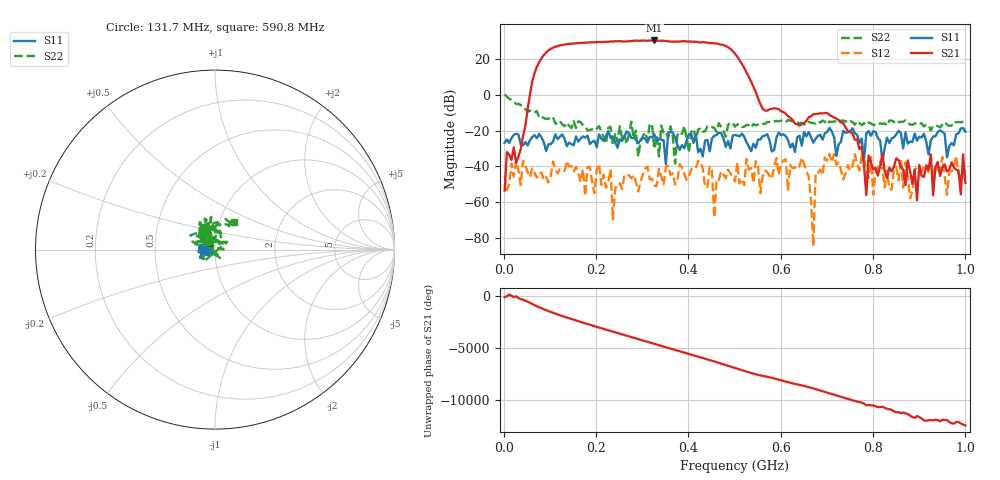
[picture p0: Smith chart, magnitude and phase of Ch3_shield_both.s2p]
!Keysight Technologies N9923A: A.12.45
!Date: Friday, 10 October 2025 03:06:30
!Timezone: (UTC+08:00) Kuala Lumpur, Singapore
!Model: N9923A
!Serial: MY61181427
!GPS Latitude:
!GPS Longitude:
!GPS TimeStamp: 0001-01-01 00:00:00Z
!GPS Seconds Since Last Read: 0
!CHECKSUM:1676709566
!Correction: S11(ON U?)S21(ON U?)S12(ON U?)S22(ON U?)
!S2P File: Measurements:S11,S21,S12,S22:
# Hz S DB R 50
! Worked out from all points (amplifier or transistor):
!   201 points, 2 MHz to 1 GHz, reference 50 ohm
!   highest |S21| = 30.1 dB at 326.4 MHz (marker M1)
!   |S21| within 3 dB of that: 118.4 MHz to 480.3 MHz (361.9 MHz wide, 121 % of centre)
!   unconditionally stable (mu >= 1): 2.061 MHz to end of sweep
!   at 166.7 MHz: K = 4.80, MAG = 28.9 dB, |S12| = -48.6 dB
!   at 501 MHz: K = 9.24, MAG = 22.9 dB, |S12| = -48.3 dB
!   at 1 GHz: K = 14049.69, MAG = -49.0 dB, |S12| = -40.1 dB
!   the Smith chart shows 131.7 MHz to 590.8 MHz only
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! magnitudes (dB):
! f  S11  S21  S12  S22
! 2 MHz  -26.9  -53.5  -45.2  0.0
! 6.99 MHz  -25.0  -32.0  -53.1  -1.1
! 76.85 MHz  -21.9  18.1  -43.3  -12.8
! 171.7 MHz  -23.3  28.9  -41.6  -16.9
! 231.5 MHz  -24.1  29.6  -41.6  -17.9
! 236.5 MHz  -23.7  29.5  -69.6  -28.0
! 261.5 MHz  -23.1  29.6  -44.7  -22.2
! 326.4 MHz  -22.0  30.1  -50.7  -30.2
! 336.3 MHz  -24.5  30.0  -41.3  -34.4
! 446.1 MHz  -31.6  28.7  -40.2  -18.4
! 456.1 MHz  -23.0  28.5  -68.4  -18.5
! 461.1 MHz  -22.4  28.5  -47.2  -20.7
! 501 MHz  -22.5  22.8  -48.3  -17.8
! 645.7 MHz  -28.5  -16.4  -35.2  -15.7
! 670.7 MHz  -26.8  -10.9  -84.4  -15.8
! 675.6 MHz  -24.7  -10.9  -43.3  -16.2
! 705.6 MHz  -18.5  -11.3  -32.9  -15.1
! 775.5 MHz  -24.4  -29.0  -33.8  -17.0
! 785.4 MHz  -21.7  -56.0  -41.1  -16.9
! 790.4 MHz  -20.3  -33.9  -46.6  -15.5
! 835.3 MHz  -27.0  -40.7  -52.6  -14.4
! 1 GHz  -20.7  -49.2  -40.1  -15.4
